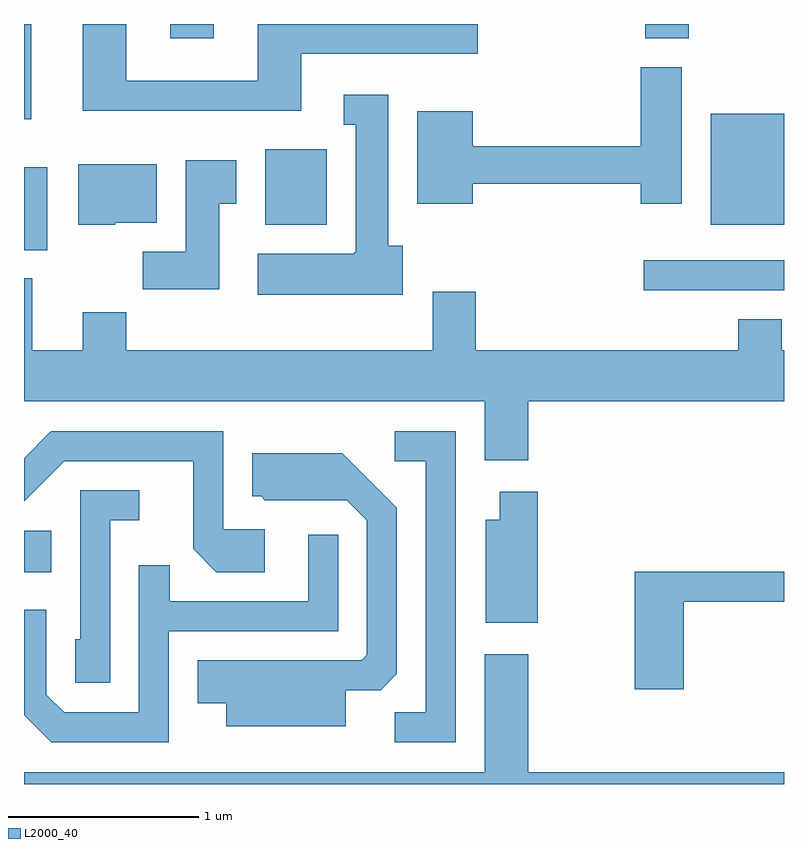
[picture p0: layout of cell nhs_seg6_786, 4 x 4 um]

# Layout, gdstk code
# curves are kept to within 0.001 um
import gdstk
lib = gdstk.Library(unit=1e-6, precision=1e-09)
def R(c, l, rs):  # rectangles x0, y0, x1, y1
    for r in rs: c.add(gdstk.rectangle(r[:2], r[2:], *l))
def P(c, l, *ps):  # polygons
    for p in ps: c.add(gdstk.Polygon(p, *l))
L2000_40 = (2000, 40)

nhs_seg6_786 = lib.new_cell('nhs_seg6_786')
R(nhs_seg6_786, L2000_40, [(207.611,1631.276,207.754,1631.494), (210.873,1632.761,211.611,1632.919), (207.611,1632.971,207.734,1633.409), (208.881,1633.106,209.204,1633.504), (211.226,1633.106,211.611,1633.689), (207.611,1633.661,207.649,1634.162), (208.381,1634.086,208.609,1634.162), (210.881,1634.086,211.109,1634.162)])
P(nhs_seg6_786, L2000_40, [(209.069,1634.006),(209.998,1634.006),(209.998,1634.162),(208.841,1634.162),(208.841,1633.864),(208.149,1633.864),(208.149,1634.162),(207.921,1634.162),(207.921,1633.706),(209.069,1633.706)],
  [(209.974,1633.321),(210.856,1633.321),(210.856,1633.216),(211.074,1633.216),(211.074,1633.934),(210.856,1633.934),(210.856,1633.519),(209.974,1633.519),(209.974,1633.704),(209.681,1633.704),(209.681,1633.216),(209.974,1633.216)],
  [(209.604,1632.994),(209.529,1632.994),(209.529,1633.789),(209.293,1633.789),(209.293,1633.631),(209.356,1633.631),(209.356,1632.96),(209.35,1632.96),(209.35,1632.954),(208.841,1632.954),(208.841,1632.736),(209.604,1632.736)],
  [(208.639,1633.216),(208.729,1633.216),(208.729,1633.444),(208.461,1633.444),(208.461,1632.964),(208.236,1632.964),(208.236,1632.766),(208.639,1632.766)],
  [(208.09,1633.116),(208.309,1633.116),(208.309,1633.424),(207.896,1633.424),(207.896,1633.106),(208.09,1633.106)],
  [(210.264,1632.176),(211.611,1632.176),(211.611,1632.444),(211.599,1632.444),(211.599,1632.609),(211.371,1632.609),(211.371,1632.444),(209.989,1632.444),(209.989,1632.754),(209.761,1632.754),(209.761,1632.444),(208.149,1632.444),(208.149,1632.644),(207.921,1632.644),(207.921,1632.444),(207.654,1632.444),(207.654,1632.823),(207.611,1632.823),(207.611,1632.176),(210.036,1632.176),(210.036,1631.866),(210.264,1631.866)],
  [(209.884,1632.019),(209.563,1632.019),(209.563,1631.861),(209.726,1631.861),(209.726,1630.539),(209.563,1630.539),(209.563,1630.381),(209.884,1630.381)],
  [(208.879,1631.504),(208.659,1631.504),(208.659,1632.019),(207.754,1632.019),(207.611,1631.876),(207.611,1631.651),(207.822,1631.861),(208.501,1631.861),(208.501,1631.399),(208.624,1631.276),(208.879,1631.276)],
  [(209.304,1630.656),(209.489,1630.656),(209.574,1630.742),(209.574,1631.617),(209.287,1631.904),(208.811,1631.904),(208.811,1631.676),(208.859,1631.676),(208.879,1631.656),(209.309,1631.656),(209.416,1631.549),(209.416,1630.842),(209.389,1630.814),(208.526,1630.814),(208.526,1630.586),(208.676,1630.586),(208.676,1630.466),(209.304,1630.466)],
  [(208.064,1631.551),(208.218,1631.551),(208.218,1631.709),(207.906,1631.709),(207.906,1630.924),(207.881,1630.924),(207.881,1630.696),(208.064,1630.696)],
  [(210.314,1631.699),(210.116,1631.699),(210.116,1631.554),(210.041,1631.554),(210.041,1631.011),(210.314,1631.011)],
  [(208.374,1630.966),(209.264,1630.966),(209.264,1631.473),(209.106,1631.473),(209.106,1631.124),(208.379,1631.124),(208.379,1631.313),(208.216,1631.313),(208.216,1630.539),(207.822,1630.539),(207.729,1630.632),(207.729,1631.079),(207.611,1631.079),(207.611,1630.524),(207.754,1630.381),(208.374,1630.381)],
  [(211.084,1631.121),(211.611,1631.121),(211.611,1631.279),(210.826,1631.279),(210.826,1630.661),(211.084,1630.661)],
  [(211.611,1630.224),(210.264,1630.224),(210.264,1630.844),(210.036,1630.844),(210.036,1630.224),(207.611,1630.224),(207.611,1630.162),(211.611,1630.162)])

lib.write_gds('nhs_seg6_786.gds')
